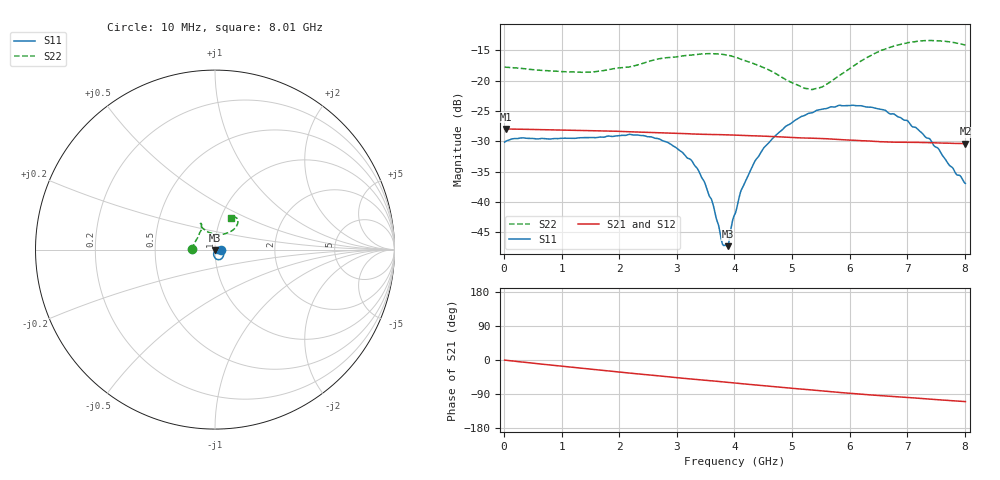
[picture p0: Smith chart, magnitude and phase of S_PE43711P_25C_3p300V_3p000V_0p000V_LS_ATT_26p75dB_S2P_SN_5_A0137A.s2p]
! Device ID: PE43711P
! File Path: z:\PE43711P\CHAR_NOM_04282014\AMB\3p300\LS_ATT_26p75dB\PE43711P_AMB_3p300V_3p000V_0p000V_LS_ATT_26p75dB_S2P_SN_5_A0137A.s2p
! Serial: 5
! Lot: A0137A
! Temp: 25C
! VDD: 3.300
! VSS: 0.000
! Control_Hi: 3.000
! Control_Lo: 0.000
! Attenuation Step: 26.75dB
! Port 1: RF1
! Port 2: RF2
! ThroughPath:1-2
! IDD: 0.0001274523
! ISS: -1.196e-007
#  Hz  S  RI  R  50
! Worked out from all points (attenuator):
!   801 points, 10 MHz to 8.01 GHz, reference 50 ohm
!   highest |S21| = -27.99 dB at 30 MHz (marker M1); lowest = -30.4 dB at 8.01 GHz (marker M2)
!   lowest |S11| = -47.3 dB at 3.88 GHz (marker M3), VSWR 1.01, Z = 50.2 - j0.4 ohm
!   |S11| at or under -10 dB: start of sweep to end of sweep
!   |S22| runs from -21.5 to -13.4 dB; largest |S21 - S12| = 0.00012
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1e7  0.0311 0.00043  0.0399 -0.000142  0.0399 -0.000145  -0.1293 0.000918
3e7  0.0316 0.00066  0.0399 -0.000367  0.0399 -0.000367  -0.1287 0.00208
1.35e9  0.0338 -0.00119  0.0361 -0.0144  0.0361 -0.0144  -0.1017 0.0576
2.19e9  0.036 0.00114  0.0311 -0.0215  0.0312 -0.0215  -0.0789 0.1032
2.68e9  0.0329 0.00442  0.0278 -0.0248  0.0278 -0.0248  -0.0749 0.1308
3.06e9  0.0257 0.0057  0.0249 -0.0271  0.0248 -0.0271  -0.0749 0.1398
3.35e9  0.0184 0.00469  0.0225 -0.0283  0.0226 -0.0283  -0.0766 0.1448
3.61e9  0.0101 0.00122  0.0206 -0.0294  0.0206 -0.0294  -0.0804 0.1452
3.8e9  0.00374 -0.00242  0.0191 -0.0303  0.0191 -0.0303  -0.0826 0.1418
3.88e9  0.00169 -0.00399  0.0184 -0.0306  0.0184 -0.0306  -0.0824 0.139
4.01e9  -0.00144 -0.00782  0.0173 -0.031  0.0173 -0.0311  -0.0814 0.1331
4.15e9  -0.00403 -0.0128  0.0161 -0.0314  0.0161 -0.0314  -0.0765 0.1264
4.34e9  -0.00708 -0.0197  0.0145 -0.0319  0.0145 -0.0319  -0.0684 0.1191
4.51e9  -0.00748 -0.0269  0.0131 -0.0323  0.0131 -0.0323  -0.06 0.1128
4.9e9  -0.00294 -0.0421  0.00978 -0.0327  0.00976 -0.0327  -0.0334 0.0955
5.35e9  0.0102 -0.0533  0.00625 -0.0329  0.00627 -0.0329  0.00958 0.0838
5.56e9  0.0188 -0.0554  0.00458 -0.0329  0.00458 -0.0329  0.0336 0.0841
6.05e9  0.0378 -0.0499  0.000902 -0.0322  0.000855 -0.0322  0.0846 0.099
6.68e9  0.0473 -0.0256  -0.00289 -0.031  -0.00289 -0.0311  0.1238 0.1394
7e9  0.0447 -0.014  -0.00466 -0.0307  -0.00467 -0.0307  0.1283 0.1586
7.39e9  0.033 -0.00278  -0.00705 -0.03  -0.00702 -0.03  0.1188 0.1776
8.01e9  0.0141 -0.00143  -0.0102 -0.0285  -0.0103 -0.0285  0.0897 0.174
